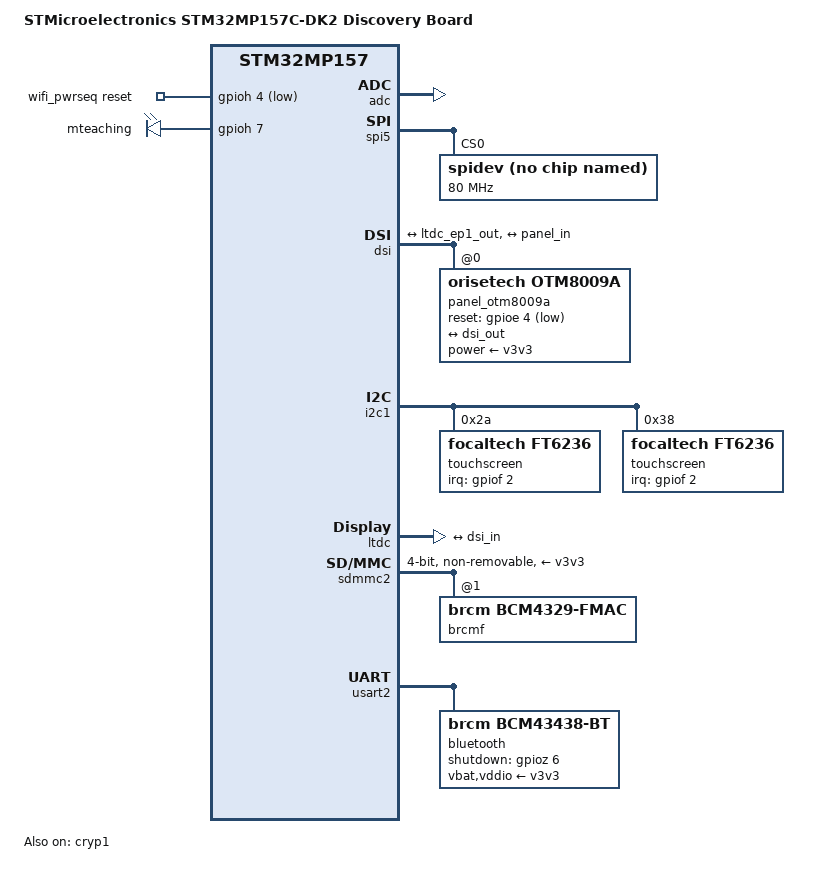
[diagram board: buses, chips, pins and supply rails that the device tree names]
// SPDX-License-Identifier: (GPL-2.0+ OR BSD-3-Clause)
/*
 * Copyright (C) STMicroelectronics 2019 - All Rights Reserved
 * Author: Alexandre Torgue <alexandre.torgue@st.com> for STMicroelectronics.
 */

/dts-v1/;

#include "stm32mp157.dtsi"
#include "stm32mp15xc.dtsi"
#include "stm32mp15-pinctrl.dtsi"
#include "stm32mp15xxac-pinctrl.dtsi"
#include "stm32mp15xx-dkx.dtsi"
#include <dt-bindings/rtc/rtc-stm32.h>

#include <dt-bindings/input/input.h>


/ {
	model = "STMicroelectronics STM32MP157C-DK2 Discovery Board";
	compatible = "st,stm32mp157c-dk2", "st,stm32mp157";

	aliases {
		ethernet0 = &ethernet0;
		serial0 = &uart4;
		serial1 = &usart3;
		serial2 = &uart7;
		serial3 = &usart2;
	};

	chosen {
		stdout-path = "serial0:115200n8";
	};

	reserved-memory {
		gpu_reserved: gpu@da000000 {
			reg = <0xda000000 0x4000000>;
			no-map;
		};
	};

	wifi_pwrseq: wifi-pwrseq {
		compatible = "mmc-pwrseq-simple";
		reset-gpios = <&gpioh 4 GPIO_ACTIVE_LOW>;
	};

	/* myself */   
	led {
	compatible = "gpio-leds";
	orange {
		label = "mteaching";
		gpios = <&gpioh 7 GPIO_ACTIVE_HIGH>;
		default-state = "off";
	};
};
};

/*
			
*/

/* ADC */
&adc {
	status = "okay";
};

/* DAC */
/*
&dac {
	status = "okay";
};

&dac1{
	status = "okay";
};

&dac2{
	status = "okay";
};
/*

/* PWM --> /home/pi/stm32mp157/stm32mp1-openstlinux-5-4-dunfell-mp1-20-11-12/sources/arm-ostl-linux-gnueabi/linux-stm32mp-5.4.56-r0/linux-5.4.56/arch/arm/boot/dts/stm32mp15xx-dkx.dtsi*/
/*
&timers1 {
	status = "okay";
};

&i2c5 {
	status = "okay";
};

&usart3 {
	status = "okay";
};
*/
&spi5 {
	status = "okay";
	spidev@0{
        compatible = "spidev";
        reg = <0>;
        spi-max-frequency = <80000000>;
    };
};
/*
&spi4 {
	status = "okay";

	spidev@0{
        compatible = "spidev";
        reg = <0>;
        spi-max-frequency = <4000000>;
    };
};
*/
&cryp1 {
	status="okay";
};

&dsi {
	#address-cells = <1>;
	#size-cells = <0>;
	status = "okay";

	ports {
		#address-cells = <1>;
		#size-cells = <0>;

		port@0 {
			reg = <0>;
			dsi_in: endpoint {
				remote-endpoint = <&ltdc_ep1_out>;
			};
		};

		port@1 {
			reg = <1>;
			dsi_out: endpoint {
				remote-endpoint = <&panel_in>;
			};
		};
	};

	panel_otm8009a: panel-otm8009a@0 {
		compatible = "orisetech,otm8009a";
		reg = <0>;
		reset-gpios = <&gpioe 4 GPIO_ACTIVE_LOW>;
		power-supply = <&v3v3>;
		status = "okay";

		port {
			panel_in: endpoint {
				remote-endpoint = <&dsi_out>;
			};
		};
	};
};

&i2c1 {
	touchscreen@2a {
		compatible = "focaltech,ft6236";
		reg = <0x2a>;
		interrupts = <2 2>;
		interrupt-parent = <&gpiof>;
		interrupt-controller;
		touchscreen-size-x = <480>;
		touchscreen-size-y = <800>;
		panel = <&panel_otm8009a>;
		status = "okay";
	};
	touchscreen@38 {
		compatible = "focaltech,ft6236";
		reg = <0x38>;
		interrupts = <2 2>;
		interrupt-parent = <&gpiof>;
		interrupt-controller;
		touchscreen-size-x = <480>;
		touchscreen-size-y = <800>;
		panel = <&panel_otm8009a>;
		status = "okay";
	};
};

&ltdc {
	status = "okay";

	port {
		#address-cells = <1>;
		#size-cells = <0>;

		ltdc_ep1_out: endpoint@1 {
			reg = <1>;
			remote-endpoint = <&dsi_in>;
		};
	};
};

&rtc {
	st,lsco = <RTC_OUT2_RMP>;
	pinctrl-0 = <&rtc_out2_rmp_pins_a>;
	pinctrl-names = "default";
};

/* Wifi */
&sdmmc2 {
	arm,primecell-periphid = <0x10153180>;
	pinctrl-names = "default", "opendrain", "sleep";
	pinctrl-0 = <&sdmmc2_b4_pins_a>;
	pinctrl-1 = <&sdmmc2_b4_od_pins_a>;
	pinctrl-2 = <&sdmmc2_b4_sleep_pins_a>;
	non-removable;
	st,neg-edge;
	bus-width = <4>;
	vmmc-supply = <&v3v3>;
	mmc-pwrseq = <&wifi_pwrseq>;
	#address-cells = <1>;
	#size-cells = <0>;
	status = "okay";

	brcmf: bcrmf@1 {
		reg = <1>;
		compatible = "brcm,bcm4329-fmac";
	};
};

/* Bluetooth */
&usart2 {
	pinctrl-names = "default", "sleep", "idle";
	pinctrl-0 = <&usart2_pins_a>;
	pinctrl-1 = <&usart2_sleep_pins_a>;
	pinctrl-2 = <&usart2_idle_pins_a>;
	uart-has-rtscts;
	status = "okay";

	bluetooth {
		shutdown-gpios = <&gpioz 6 GPIO_ACTIVE_HIGH>;
		compatible = "brcm,bcm43438-bt";
		max-speed = <3000000>;
		vbat-supply = <&v3v3>;
		vddio-supply = <&v3v3>;
	};
};
